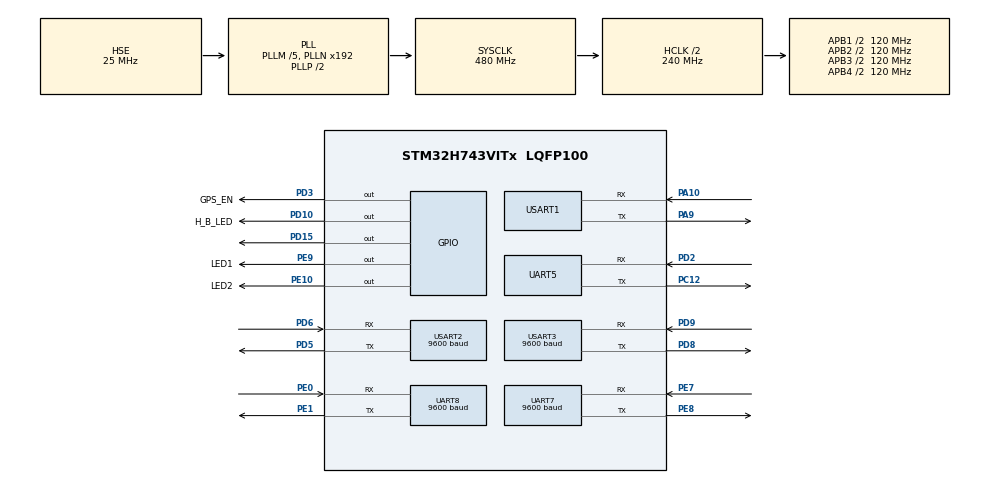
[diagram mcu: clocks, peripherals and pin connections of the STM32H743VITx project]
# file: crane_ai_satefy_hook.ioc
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CORTEX_M7.default_mode_Activation=1
Dma.Request0=UART7_RX
Dma.Request1=UART7_TX
Dma.Request2=USART1_RX
Dma.Request3=USART1_TX
Dma.Request4=USART2_RX
Dma.Request5=USART2_TX
Dma.Request6=UART5_RX
Dma.Request7=UART5_TX
Dma.UART5_RX.6.Direction=DMA_PERIPH_TO_MEMORY
Dma.UART5_RX.6.EventEnable=DISABLE
Dma.UART5_RX.6.FIFOMode=DMA_FIFOMODE_DISABLE
Dma.UART5_RX.6.Instance=DMA1_Stream6
Dma.UART5_RX.6.MemDataAlignment=DMA_MDATAALIGN_BYTE
Dma.UART5_RX.6.MemInc=DMA_MINC_ENABLE
Dma.UART5_RX.6.Mode=DMA_NORMAL
Dma.UART5_RX.6.PeriphDataAlignment=DMA_PDATAALIGN_BYTE
Dma.UART5_RX.6.PeriphInc=DMA_PINC_DISABLE
Dma.UART5_RX.6.Polarity=HAL_DMAMUX_REQ_GEN_RISING
Dma.UART5_RX.6.Priority=DMA_PRIORITY_LOW
Dma.UART5_RX.6.RequestNumber=1
Dma.UART5_RX.6.SignalID=NONE
Dma.UART5_RX.6.SyncEnable=DISABLE
Dma.UART5_RX.6.SyncPolarity=HAL_DMAMUX_SYNC_NO_EVENT
Dma.UART5_RX.6.SyncRequestNumber=1
Dma.UART5_RX.6.SyncSignalID=NONE
Dma.UART5_TX.7.Direction=DMA_MEMORY_TO_PERIPH
Dma.UART5_TX.7.EventEnable=DISABLE
Dma.UART5_TX.7.FIFOMode=DMA_FIFOMODE_DISABLE
Dma.UART5_TX.7.Instance=DMA1_Stream7
Dma.UART5_TX.7.MemDataAlignment=DMA_MDATAALIGN_BYTE
Dma.UART5_TX.7.MemInc=DMA_MINC_ENABLE
Dma.UART5_TX.7.Mode=DMA_NORMAL
Dma.UART5_TX.7.PeriphDataAlignment=DMA_PDATAALIGN_BYTE
Dma.UART5_TX.7.PeriphInc=DMA_PINC_DISABLE
Dma.UART5_TX.7.Polarity=HAL_DMAMUX_REQ_GEN_RISING
Dma.UART5_TX.7.Priority=DMA_PRIORITY_LOW
Dma.UART5_TX.7.RequestNumber=1
Dma.UART5_TX.7.SignalID=NONE
Dma.UART5_TX.7.SyncEnable=DISABLE
Dma.UART5_TX.7.SyncPolarity=HAL_DMAMUX_SYNC_NO_EVENT
Dma.UART5_TX.7.SyncRequestNumber=1
Dma.UART5_TX.7.SyncSignalID=NONE
Dma.UART7_RX.0.Direction=DMA_PERIPH_TO_MEMORY
Dma.UART7_RX.0.EventEnable=DISABLE
Dma.UART7_RX.0.FIFOMode=DMA_FIFOMODE_DISABLE
Dma.UART7_RX.0.Instance=DMA1_Stream0
Dma.UART7_RX.0.MemDataAlignment=DMA_MDATAALIGN_BYTE
Dma.UART7_RX.0.MemInc=DMA_MINC_ENABLE
Dma.UART7_RX.0.Mode=DMA_NORMAL
Dma.UART7_RX.0.PeriphDataAlignment=DMA_PDATAALIGN_BYTE
Dma.UART7_RX.0.PeriphInc=DMA_PINC_DISABLE
Dma.UART7_RX.0.Polarity=HAL_DMAMUX_REQ_GEN_RISING
Dma.UART7_RX.0.Priority=DMA_PRIORITY_HIGH
Dma.UART7_RX.0.RequestNumber=1
Dma.UART7_RX.0.SignalID=NONE
Dma.UART7_RX.0.SyncEnable=DISABLE
Dma.UART7_RX.0.SyncPolarity=HAL_DMAMUX_SYNC_NO_EVENT
Dma.UART7_RX.0.SyncRequestNumber=1
Dma.UART7_RX.0.SyncSignalID=NONE
Dma.UART7_TX.1.Direction=DMA_MEMORY_TO_PERIPH
Dma.UART7_TX.1.EventEnable=DISABLE
Dma.UART7_TX.1.FIFOMode=DMA_FIFOMODE_DISABLE
Dma.UART7_TX.1.Instance=DMA1_Stream1
Dma.UART7_TX.1.MemDataAlignment=DMA_MDATAALIGN_BYTE
Dma.UART7_TX.1.MemInc=DMA_MINC_ENABLE
Dma.UART7_TX.1.Mode=DMA_NORMAL
Dma.UART7_TX.1.PeriphDataAlignment=DMA_PDATAALIGN_BYTE
Dma.UART7_TX.1.PeriphInc=DMA_PINC_DISABLE
Dma.UART7_TX.1.Polarity=HAL_DMAMUX_REQ_GEN_RISING
Dma.UART7_TX.1.Priority=DMA_PRIORITY_LOW
Dma.UART7_TX.1.RequestNumber=1
Dma.UART7_TX.1.SignalID=NONE
Dma.UART7_TX.1.SyncEnable=DISABLE
Dma.UART7_TX.1.SyncPolarity=HAL_DMAMUX_SYNC_NO_EVENT
Dma.UART7_TX.1.SyncRequestNumber=1
Dma.UART7_TX.1.SyncSignalID=NONE
Dma.USART1_RX.2.Direction=DMA_PERIPH_TO_MEMORY
Dma.USART1_RX.2.EventEnable=DISABLE
Dma.USART1_RX.2.FIFOMode=DMA_FIFOMODE_DISABLE
Dma.USART1_RX.2.Instance=DMA1_Stream2
Dma.USART1_RX.2.MemDataAlignment=DMA_MDATAALIGN_BYTE
Dma.USART1_RX.2.MemInc=DMA_MINC_ENABLE
Dma.USART1_RX.2.Mode=DMA_NORMAL
Dma.USART1_RX.2.PeriphDataAlignment=DMA_PDATAALIGN_BYTE
Dma.USART1_RX.2.PeriphInc=DMA_PINC_DISABLE
Dma.USART1_RX.2.Polarity=HAL_DMAMUX_REQ_GEN_RISING
Dma.USART1_RX.2.Priority=DMA_PRIORITY_LOW
Dma.USART1_RX.2.RequestNumber=1
Dma.USART1_RX.2.SignalID=NONE
Dma.USART1_RX.2.SyncEnable=DISABLE
Dma.USART1_RX.2.SyncPolarity=HAL_DMAMUX_SYNC_NO_EVENT
Dma.USART1_RX.2.SyncRequestNumber=1
Dma.USART1_RX.2.SyncSignalID=NONE
Dma.USART1_TX.3.Direction=DMA_MEMORY_TO_PERIPH
Dma.USART1_TX.3.EventEnable=DISABLE
Dma.USART1_TX.3.FIFOMode=DMA_FIFOMODE_DISABLE
Dma.USART1_TX.3.Instance=DMA1_Stream3
Dma.USART1_TX.3.MemDataAlignment=DMA_MDATAALIGN_BYTE
Dma.USART1_TX.3.MemInc=DMA_MINC_ENABLE
Dma.USART1_TX.3.Mode=DMA_NORMAL
Dma.USART1_TX.3.PeriphDataAlignment=DMA_PDATAALIGN_BYTE
Dma.USART1_TX.3.PeriphInc=DMA_PINC_DISABLE
Dma.USART1_TX.3.Polarity=HAL_DMAMUX_REQ_GEN_RISING
Dma.USART1_TX.3.Priority=DMA_PRIORITY_LOW
Dma.USART1_TX.3.RequestNumber=1
Dma.USART1_TX.3.SignalID=NONE
Dma.USART1_TX.3.SyncEnable=DISABLE
Dma.USART1_TX.3.SyncPolarity=HAL_DMAMUX_SYNC_NO_EVENT
Dma.USART1_TX.3.SyncRequestNumber=1
Dma.USART1_TX.3.SyncSignalID=NONE
Dma.USART2_RX.4.Direction=DMA_PERIPH_TO_MEMORY
Dma.USART2_RX.4.EventEnable=DISABLE
Dma.USART2_RX.4.FIFOMode=DMA_FIFOMODE_DISABLE
Dma.USART2_RX.4.Instance=DMA1_Stream4
Dma.USART2_RX.4.MemDataAlignment=DMA_MDATAALIGN_BYTE
Dma.USART2_RX.4.MemInc=DMA_MINC_ENABLE
Dma.USART2_RX.4.Mode=DMA_NORMAL
Dma.USART2_RX.4.PeriphDataAlignment=DMA_PDATAALIGN_BYTE
Dma.USART2_RX.4.PeriphInc=DMA_PINC_DISABLE
Dma.USART2_RX.4.Polarity=HAL_DMAMUX_REQ_GEN_RISING
Dma.USART2_RX.4.Priority=DMA_PRIORITY_LOW
Dma.USART2_RX.4.RequestNumber=1
Dma.USART2_RX.4.SignalID=NONE
Dma.USART2_RX.4.SyncEnable=DISABLE
Dma.USART2_RX.4.SyncPolarity=HAL_DMAMUX_SYNC_NO_EVENT
Dma.USART2_RX.4.SyncRequestNumber=1
Dma.USART2_RX.4.SyncSignalID=NONE
Dma.USART2_TX.5.Direction=DMA_MEMORY_TO_PERIPH
Dma.USART2_TX.5.EventEnable=DISABLE
Dma.USART2_TX.5.FIFOMode=DMA_FIFOMODE_DISABLE
Dma.USART2_TX.5.Instance=DMA1_Stream5
Dma.USART2_TX.5.MemDataAlignment=DMA_MDATAALIGN_BYTE
Dma.USART2_TX.5.MemInc=DMA_MINC_ENABLE
Dma.USART2_TX.5.Mode=DMA_NORMAL
Dma.USART2_TX.5.PeriphDataAlignment=DMA_PDATAALIGN_BYTE
Dma.USART2_TX.5.PeriphInc=DMA_PINC_DISABLE
Dma.USART2_TX.5.Polarity=HAL_DMAMUX_REQ_GEN_RISING
Dma.USART2_TX.5.Priority=DMA_PRIORITY_LOW
Dma.USART2_TX.5.RequestNumber=1
Dma.USART2_TX.5.SignalID=NONE
Dma.USART2_TX.5.SyncEnable=DISABLE
Dma.USART2_TX.5.SyncPolarity=HAL_DMAMUX_SYNC_NO_EVENT
Dma.USART2_TX.5.SyncRequestNumber=1
Dma.USART2_TX.5.SyncSignalID=NONE
FREERTOS.Tasks01=defaultTask,24,128,StartDefaultTask,Default,NULL,Dynamic,NULL,NULL
FREERTOS.configUSE_NEWLIB_REENTRANT=1
Mcu.Family=STM32H7
Mcu.Name=STM32H743VITx
Mcu.Package=LQFP100
NVIC.DMA1_Stream0_IRQn=true\:5\:0\:false\:false\:true\:true\:false\:true\:true
NVIC.DMA1_Stream1_IRQn=true\:5\:0\:false\:false\:true\:true\:false\:true\:true
NVIC.DMA1_Stream2_IRQn=true\:5\:0\:false\:false\:true\:true\:false\:true\:true
NVIC.DMA1_Stream3_IRQn=true\:5\:0\:false\:false\:true\:true\:false\:true\:true
NVIC.DMA1_Stream4_IRQn=true\:5\:0\:false\:false\:true\:true\:false\:true\:true
NVIC.DMA1_Stream5_IRQn=true\:5\:0\:false\:false\:true\:true\:false\:true\:true
NVIC.DMA1_Stream6_IRQn=true\:5\:0\:false\:false\:true\:true\:false\:true\:true
NVIC.DMA1_Stream7_IRQn=true\:5\:0\:false\:false\:true\:true\:false\:true\:true
NVIC.PriorityGroup=NVIC_PRIORITYGROUP_4
NVIC.RTC_Alarm_IRQn=true\:5\:0\:false\:false\:true\:true\:true\:true\:true
NVIC.TIM6_DAC_IRQn=true\:15\:0\:false\:false\:true\:false\:false\:true\:true
NVIC.TimeBase=TIM6_DAC_IRQn
NVIC.TimeBaseIP=TIM6
NVIC.UART5_IRQn=true\:5\:0\:false\:false\:true\:true\:true\:true\:true
NVIC.UART7_IRQn=true\:5\:0\:false\:false\:true\:true\:true\:true\:true
NVIC.UART8_IRQn=true\:5\:0\:false\:false\:true\:true\:true\:true\:true
NVIC.USART1_IRQn=true\:5\:0\:false\:false\:true\:true\:true\:true\:true
NVIC.USART2_IRQn=true\:5\:0\:false\:false\:true\:true\:true\:true\:true
NVIC.USART3_IRQn=true\:5\:0\:false\:false\:true\:true\:true\:true\:true
PA10.Mode=Asynchronous
PA10.Signal=USART1_RX
PA9.Mode=Asynchronous
PA9.Signal=USART1_TX
PC12.Mode=Asynchronous
PC12.Signal=UART5_TX
PC14-OSC32_IN\ (OSC32_IN).Mode=LSE-External-Oscillator
PC14-OSC32_IN\ (OSC32_IN).Signal=RCC_OSC32_IN
PC15-OSC32_OUT\ (OSC32_OUT).Mode=LSE-External-Oscillator
PC15-OSC32_OUT\ (OSC32_OUT).Signal=RCC_OSC32_OUT
PD10.GPIO_Label=H_B_LED
PD10.Signal=GPIO_Output
PD15.Signal=GPIO_Output
PD2.Mode=Asynchronous
PD2.Signal=UART5_RX
PD3.GPIO_Label=GPS_EN
PD3.PinState=GPIO_PIN_SET
PD3.Signal=GPIO_Output
PD5.Mode=Asynchronous
PD5.Signal=USART2_TX
PD6.Mode=Asynchronous
PD6.Signal=USART2_RX
PD8.Mode=Asynchronous
PD8.Signal=USART3_TX
PD9.Mode=Asynchronous
PD9.Signal=USART3_RX
PE0.Mode=Asynchronous
PE0.Signal=UART8_RX
PE1.Mode=Asynchronous
PE1.Signal=UART8_TX
PE10.GPIO_Label=LED2
PE10.Signal=GPIO_Output
PE7.Mode=Asynchronous
PE7.Signal=UART7_RX
PE8.Mode=Asynchronous
PE8.Signal=UART7_TX
PE9.GPIO_Label=LED1
PE9.Signal=GPIO_Output
PH0-OSC_IN\ (PH0).Mode=HSE-External-Oscillator
PH0-OSC_IN\ (PH0).Signal=RCC_OSC_IN
PH1-OSC_OUT\ (PH1).Mode=HSE-External-Oscillator
PH1-OSC_OUT\ (PH1).Signal=RCC_OSC_OUT
ProjectManager.HeapSize=0x4000
ProjectManager.StackSize=0x4000
ProjectManager.TargetToolchain=STM32CubeIDE
RCC.ADCFreq_Value=50390625
RCC.APB1Freq_Value=120000000
RCC.APB2Freq_Value=120000000
RCC.APB3Freq_Value=120000000
RCC.APB4Freq_Value=120000000
RCC.CortexFreq_Value=480000000
RCC.D1PPRE=RCC_APB3_DIV2
RCC.D2PPRE1=RCC_APB1_DIV2
RCC.D2PPRE2=RCC_APB2_DIV2
RCC.D3PPRE=RCC_APB4_DIV2
RCC.DIVM1=5
RCC.DIVN1=192
RCC.HCLKFreq_Value=240000000
RCC.HPRE=RCC_HCLK_DIV2
RCC.PLLSourceVirtual=RCC_PLLSOURCE_HSE
RCC.RTCClockSelection=RCC_RTCCLKSOURCE_LSE
RCC.SYSCLKFreq_VALUE=480000000
RCC.SYSCLKSource=RCC_SYSCLKSOURCE_PLLCLK
RCC.USBFreq_Value=480000000
RTC.AlarmMaskDateWeekDay_B-Alarm\ B=RTC_ALARMMASK_DATEWEEKDAY
RTC.Alarm_B-Alarm\ B=RTC_ALARM_B
RTC.Format=RTC_FORMAT_BIN
UART7.BaudRate=9600
UART8.BaudRate=9600
USART1.VirtualMode-Asynchronous=VM_ASYNC
USART2.BaudRate=9600
USART2.VirtualMode-Asynchronous=VM_ASYNC
USART3.BaudRate=9600
USART3.VirtualMode-Asynchronous=VM_ASYNC
VP_FREERTOS_VS_CMSIS_V2.Mode=CMSIS_V2
VP_MEMORYMAP_VS_MEMORYMAP.Mode=CurAppReg
VP_RTC_VS_RTC_Activate.Mode=RTC_Enabled
VP_RTC_VS_RTC_Alarm_B_Intern.Mode=Alarm B
VP_RTC_VS_RTC_Calendar.Mode=RTC_Calendar
VP_SYS_VS_tim6.Mode=TIM6
board=custom

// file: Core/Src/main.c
/* USER CODE BEGIN Header */
/**
  ******************************************************************************
  * @file           : main.c
  * @brief          : Main program body
  ******************************************************************************
  * @attention
  *
  * Copyright (c) 2025 STMicroelectronics.
  * All rights reserved.
  *
  * This software is licensed under terms that can be found in the LICENSE file
  * in the root directory of this software component.
  * If no LICENSE file comes with this software, it is provided AS-IS.
  *
  ******************************************************************************
  */
/* USER CODE END Header */
#include "main.h"
#include "cmsis_os.h"
#include "dma.h"
#include "iwdg.h"
#include "rtc.h"
#include "usart.h"
#include "gpio.h"

/* USER CODE BEGIN Includes */
#include "board.h"
#include "printf_redirect.h"
/* USER CODE END Includes */

void SystemClock_Config(void);
static void MPU_Config(void);
void MX_FREERTOS_Init(void);

/* USER CODE BEGIN 0 */
void AutoConfig_IWDG_OptionBytes(void)
{
    FLASH_OBProgramInitTypeDef OBInit;
    HAL_FLASHEx_OBGetConfig(&OBInit);

    // 检查 IWDG 在 Standby 或 Stop 模式下是否为 ACTIVE (活跃/运行) 状态
    if (((OBInit.USERConfig & OB_IWDG_STDBY_ACTIVE) == OB_IWDG_STDBY_ACTIVE) ||
        ((OBInit.USERConfig & OB_IWDG_STOP_ACTIVE) == OB_IWDG_STOP_ACTIVE))
    {
        printf("[INFO] Updating Option Bytes to FREEZE IWDG in Sleep mode...\r\n");

        HAL_FLASH_Unlock();
        HAL_FLASH_OB_Unlock();

        OBInit.OptionType = OPTIONBYTE_USER;
        OBInit.USERType   = OB_USER_IWDG_STDBY | OB_USER_IWDG_STOP;
        OBInit.USERConfig = OB_IWDG_STDBY_FREEZE | OB_IWDG_STOP_FREEZE;

        if (HAL_FLASHEx_OBProgram(&OBInit) != HAL_OK)
        {
            printf("[ERROR] Option Bytes Write Failed!\r\n");
            HAL_FLASH_OB_Lock();
            HAL_FLASH_Lock();
            return;
        }
        printf("[INFO] OB Updated. Rebooting!\r\n");
        HAL_FLASH_OB_Launch(); // 执行这句会引发系统硬件复位重启

        HAL_FLASH_OB_Lock();
        HAL_FLASH_Lock();
    }
}
/* USER CODE END 0 */

int main(void)
{

  /* MPU Configuration--------------------------------------------------------*/
  MPU_Config();

  /* MCU Configuration--------------------------------------------------------*/

  /* Reset of all peripherals, Initializes the Flash interface and the Systick. */
  HAL_Init();

  /* USER CODE BEGIN Init */

  AutoConfig_IWDG_OptionBytes();// 自动配置看门狗休眠冻结（第一次烧录新板子走到这里会重启一次，后续正常）
  __HAL_DBGMCU_FREEZE_IWDG1();// 调试器暂停时，自动暂停看门狗（防止用 ST-Link 打断点单步调试时板子一直复位）
  /* USER CODE END Init */

  /* Configure the system clock */
  SystemClock_Config();

  /* Initialize all configured peripherals */
  MX_GPIO_Init();
  MX_DMA_Init();
  MX_USART1_UART_Init();
  MX_UART7_Init();
  MX_UART8_Init();
  MX_USART2_UART_Init();
  MX_USART3_UART_Init();
  MX_UART5_Init();
  MX_RTC_Init();
  MX_IWDG1_Init();
  /* USER CODE BEGIN 2 */
  init_app();
  /* USER CODE END 2 */

  /* Init scheduler */
  osKernelInitialize();  /* Call init function for freertos objects (in cmsis_os2.c) */
  MX_FREERTOS_Init();

  /* Start scheduler */
  osKernelStart();

  /* We should never get here as control is now taken by the scheduler */

  /* Infinite loop */
  while (1)
  {

    /* USER CODE BEGIN 3 */
    Error_Handler();
  }
  /* USER CODE END 3 */
}

void SystemClock_Config(void)
{
  RCC_OscInitTypeDef RCC_OscInitStruct = {0};
  RCC_ClkInitTypeDef RCC_ClkInitStruct = {0};

  /** Supply configuration update enable
  */
  HAL_PWREx_ConfigSupply(PWR_LDO_SUPPLY);

  /** Configure the main internal regulator output voltage
  */
  __HAL_PWR_VOLTAGESCALING_CONFIG(PWR_REGULATOR_VOLTAGE_SCALE0);

  while(!__HAL_PWR_GET_FLAG(PWR_FLAG_VOSRDY)) {}

  /** Configure LSE Drive Capability
  */
  HAL_PWR_EnableBkUpAccess();
  __HAL_RCC_LSEDRIVE_CONFIG(RCC_LSEDRIVE_LOW);

  /** Initializes the RCC Oscillators according to the specified parameters
  * in the RCC_OscInitTypeDef structure.
  */
  RCC_OscInitStruct.OscillatorType = RCC_OSCILLATORTYPE_LSI|RCC_OSCILLATORTYPE_HSE
                              |RCC_OSCILLATORTYPE_LSE;
  RCC_OscInitStruct.HSEState = RCC_HSE_ON;
  RCC_OscInitStruct.LSEState = RCC_LSE_ON;
  RCC_OscInitStruct.LSIState = RCC_LSI_ON;
  RCC_OscInitStruct.PLL.PLLState = RCC_PLL_ON;
  RCC_OscInitStruct.PLL.PLLSource = RCC_PLLSOURCE_HSE;
  RCC_OscInitStruct.PLL.PLLM = 5;
  RCC_OscInitStruct.PLL.PLLN = 192;
  RCC_OscInitStruct.PLL.PLLP = 2;
  RCC_OscInitStruct.PLL.PLLQ = 2;
  RCC_OscInitStruct.PLL.PLLR = 2;
  RCC_OscInitStruct.PLL.PLLRGE = RCC_PLL1VCIRANGE_2;
  RCC_OscInitStruct.PLL.PLLVCOSEL = RCC_PLL1VCOWIDE;
  RCC_OscInitStruct.PLL.PLLFRACN = 0;
  if (HAL_RCC_OscConfig(&RCC_OscInitStruct) != HAL_OK)
  {
    Error_Handler();
  }

  /** Initializes the CPU, AHB and APB buses clocks
  */
  RCC_ClkInitStruct.ClockType = RCC_CLOCKTYPE_HCLK|RCC_CLOCKTYPE_SYSCLK
                              |RCC_CLOCKTYPE_PCLK1|RCC_CLOCKTYPE_PCLK2
                              |RCC_CLOCKTYPE_D3PCLK1|RCC_CLOCKTYPE_D1PCLK1;
  RCC_ClkInitStruct.SYSCLKSource = RCC_SYSCLKSOURCE_PLLCLK;
  RCC_ClkInitStruct.SYSCLKDivider = RCC_SYSCLK_DIV1;
  RCC_ClkInitStruct.AHBCLKDivider = RCC_HCLK_DIV2;
  RCC_ClkInitStruct.APB3CLKDivider = RCC_APB3_DIV2;
  RCC_ClkInitStruct.APB1CLKDivider = RCC_APB1_DIV2;
  RCC_ClkInitStruct.APB2CLKDivider = RCC_APB2_DIV2;
  RCC_ClkInitStruct.APB4CLKDivider = RCC_APB4_DIV2;

  if (HAL_RCC_ClockConfig(&RCC_ClkInitStruct, FLASH_LATENCY_4) != HAL_OK)
  {
    Error_Handler();
  }
}

 /* MPU Configuration */

void MPU_Config(void)
{
  MPU_Region_InitTypeDef MPU_InitStruct = {0};

  /* Disables the MPU */
  HAL_MPU_Disable();

  /** Initializes and configures the Region and the memory to be protected
  */
  MPU_InitStruct.Enable = MPU_REGION_ENABLE;
  MPU_InitStruct.Number = MPU_REGION_NUMBER0;
  MPU_InitStruct.BaseAddress = 0x0;
  MPU_InitStruct.Size = MPU_REGION_SIZE_4GB;
  MPU_InitStruct.SubRegionDisable = 0x87;
  MPU_InitStruct.TypeExtField = MPU_TEX_LEVEL0;
  MPU_InitStruct.AccessPermission = MPU_REGION_NO_ACCESS;
  MPU_InitStruct.DisableExec = MPU_INSTRUCTION_ACCESS_DISABLE;
  MPU_InitStruct.IsShareable = MPU_ACCESS_SHAREABLE;
  MPU_InitStruct.IsCacheable = MPU_ACCESS_NOT_CACHEABLE;
  MPU_InitStruct.IsBufferable = MPU_ACCESS_NOT_BUFFERABLE;

  HAL_MPU_ConfigRegion(&MPU_InitStruct);
  /* Enables the MPU */
  HAL_MPU_Enable(MPU_PRIVILEGED_DEFAULT);

}

void HAL_TIM_PeriodElapsedCallback(TIM_HandleTypeDef *htim)
{
  if (htim->Instance == TIM6)
  {
    HAL_IncTick();
  }
}

void Error_Handler(void)
{
  /* USER CODE BEGIN Error_Handler_Debug */
  /* User can add his own implementation to report the HAL error return state */
  __disable_irq();
  __set_FAULTMASK(1);
  NVIC_SystemReset();
  while (1)
  {

  }
  /* USER CODE END Error_Handler_Debug */
}
